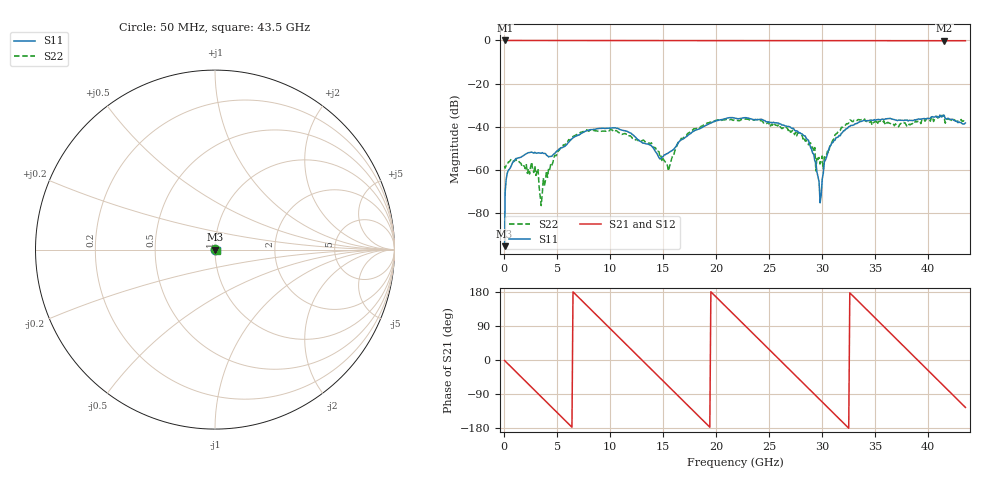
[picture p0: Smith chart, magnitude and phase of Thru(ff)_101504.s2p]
# Hz S RI R 50.000000
! Metas.Vna.Data, 2.4.7734.25685
! Created: UTC 2023.03.21 14:39:27
! FREQ  re:S1,1  im:S1,1  re:S2,1  im:S2,1  re:S1,2  im:S1,2  re:S2,2  im:S2,2
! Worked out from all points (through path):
!   436 points, 50 MHz to 43.5 GHz, reference 50 ohm
!   highest |S21| = 0.00 dB at 100 MHz (marker M1); lowest = -0.2 dB at 41.5 GHz (marker M2)
!   group delay of S21, straight-line fit = 76.9 ps
!   lowest |S11| = -95.3 dB at 50 MHz (marker M3), VSWR 1.00, Z = 50 - j9.66e-05 ohm
!   |S11| at or under -10 dB: start of sweep to end of sweep
!   |S22| runs from -76.5 to -34.4 dB; largest |S21 - S12| = 0
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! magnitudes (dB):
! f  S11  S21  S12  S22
! 50 MHz  -95.3  0.0  0.0  -58.2
! 100 MHz  -70.3  0.0  0.0  -59.2
! 400 MHz  -60.1  0.0  0.0  -56.3
! 1 GHz  -55.5  0.0  0.0  -55.5
! 3 GHz  -52.2  0.0  0.0  -62.5
! 3.6 GHz  -52.0  0.0  0.0  -71.1
! 4.9 GHz  -51.6  0.0  0.0  -53.4
! 7.3 GHz  -43.0  0.0  0.0  -42.5
! 10.6 GHz  -40.6  0.0  0.0  -41.7
! 14.6 GHz  -54.2  -0.1  -0.1  -51.5
! 15.5 GHz  -52.0  -0.1  -0.1  -60.4
! 17.7 GHz  -42.6  -0.1  -0.1  -41.7
! 21.8 GHz  -36.0  -0.1  -0.1  -37.1
! 27.1 GHz  -40.7  -0.1  -0.1  -42.3
! 29.1 GHz  -52.2  -0.1  -0.1  -49.5
! 29.8 GHz  -75.2  -0.1  -0.1  -57.2
! 30.4 GHz  -54.2  -0.1  -0.1  -52.8
! 31.3 GHz  -45.1  -0.1  -0.1  -43.3
! 32.8 GHz  -39.4  -0.1  -0.1  -37.5
! 36.3 GHz  -36.2  -0.1  -0.1  -38.3
! 41.5 GHz  -34.7  -0.2  -0.2  -35.9
! 43.5 GHz  -38.2  -0.1  -0.1  -37.2
